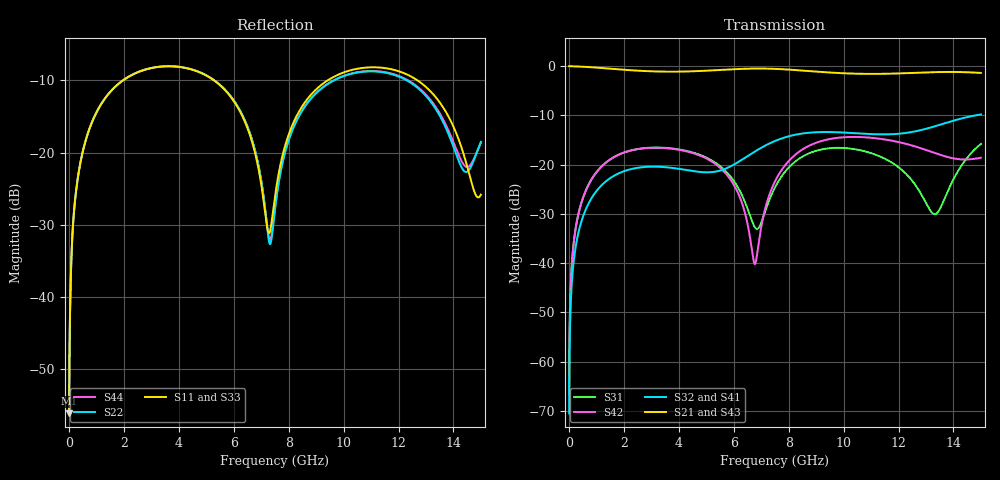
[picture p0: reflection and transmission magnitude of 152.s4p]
! Created with skrf 1.8.0 (http://scikit-rf.org).
# GHz S RI R 50.0
!freq ReS11 ImS11 ReS12 ImS12 ReS13 ImS13
! ReS14 ImS14
! ReS21 ImS21 ReS22 ImS22 ReS23 ImS23
! ReS24 ImS24
! ReS31 ImS31 ReS32 ImS32 ReS33 ImS33
! ReS34 ImS34
! ReS41 ImS41 ReS42 ImS42 ReS43 ImS43
! ReS44 ImS44
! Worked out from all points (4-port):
!   2499 points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, 5 MHz to 15 GHz, reference 50 ohm
!   strongest paths, dB at 5 MHz, 3.476 GHz, 7.19 GHz, 11.1 GHz, 15 GHz:
!     S21: 0.0, -1.1, -0.5, -1.6, -1.4
!     S43: 0.0, -1.1, -0.5, -1.6, -1.4
!     S32: -70.5, -20.5, -16.0, -13.8, -9.8
!     S41: -70.5, -20.5, -16.0, -13.7, -9.8
!     S42: -66.6, -16.6, -28.0, -14.6, -18.6
!     S31: -66.6, -16.6, -28.8, -17.9, -15.8
!   lowest |S11| = -56.2 dB at 5 MHz (marker M1), VSWR 1.00, Z = 50.1 + j0.0944 ohm
!   |S11| at or under -10 dB: start of sweep to 1.96 GHz; 5.287 GHz to 9.414 GHz (4.127 GHz wide, 56.2 % of centre); 12.7 GHz to end of sweep
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0.005  0.00123 0.000942  0.9987 -0.0024  5.99e-05 0.000462  -5.84e-05 -0.000293
       0.9987 -0.0024  0.00123 0.000942  -5.84e-05 -0.000293  5.99e-05 0.000462
       5.99e-05 0.000462  -5.84e-05 -0.000293  0.00123 0.000942  0.9987 -0.0024
       -5.84e-05 -0.000293  5.99e-05 0.000462  0.9987 -0.0024  0.00123 0.000942
0.4126719  0.0226 0.0813  0.9688 -0.1966  0.0102 0.0362  -0.00848 -0.0227
           0.9688 -0.1966  0.0226 0.0813  -0.00847 -0.0227  0.0101 0.0362
           0.0102 0.0362  -0.00847 -0.0227  0.0226 0.0813  0.9688 -0.1966
           -0.00848 -0.0227  0.0101 0.0362  0.9688 -0.1966  0.0226 0.0813
2.075865  0.2723 0.1816  0.5466 -0.7341  0.1225 0.0565  -0.087 -0.0057
          0.5466 -0.7341  0.2726 0.1814  -0.0869 -0.0059  0.1215 0.0579
          0.1225 0.0565  -0.0869 -0.0059  0.2724 0.1815  0.5466 -0.7341
          -0.087 -0.0057  0.1215 0.0579  0.5466 -0.7341  0.2726 0.1814
6.765319  0.0477 -0.0894  -0.9007 -0.2845  -0.0212 -0.00949  -0.0349 0.1311
          -0.9007 -0.2845  0.0451 -0.095  -0.0378 0.1302  0.00975 -0.000318
          -0.0212 -0.00949  -0.0378 0.1302  0.0463 -0.0895  -0.9008 -0.2842
          -0.0349 0.1311  0.00975 -0.000318  -0.9008 -0.2842  0.0462 -0.0944
7.29679  0.0276 0.00158  -0.9403 -0.056  -0.0151 0.0411  -0.00338 0.1637
         -0.9403 -0.056  0.023 -0.00538  -0.00685 0.1636  0.0244 0.0428
         -0.0151 0.0411  -0.00685 0.1636  0.0261 0.00216  -0.9403 -0.0556
         -0.00338 0.1637  0.0244 0.0428  -0.9403 -0.0556  0.0243 -0.00494
10.5669  0.3797 0.0536  -0.2206 0.8068  0.1406 -0.00393  0.2086 -0.0109
         -0.2206 0.8068  0.3549 0.0653  0.2071 -0.00506  0.1656 -0.0944
         0.1406 -0.00393  0.2071 -0.00506  0.3829 0.0545  -0.2198 0.8059
         0.2086 -0.0109  0.1656 -0.0944  -0.2198 0.8059  0.3565 0.0657
15  0.0505 0.00713  0.8529 -0.0244  0.1195 0.1098  -0.0274 -0.3219
    0.8529 -0.0244  0.0923 0.0746  -0.0138 -0.3224  -0.0612 0.1002
    0.1195 0.1098  -0.0138 -0.3224  0.0485 0.00226  0.8532 -0.0227
    -0.0274 -0.3219  -0.0612 0.1002  0.8532 -0.0227  0.0967 0.0661
